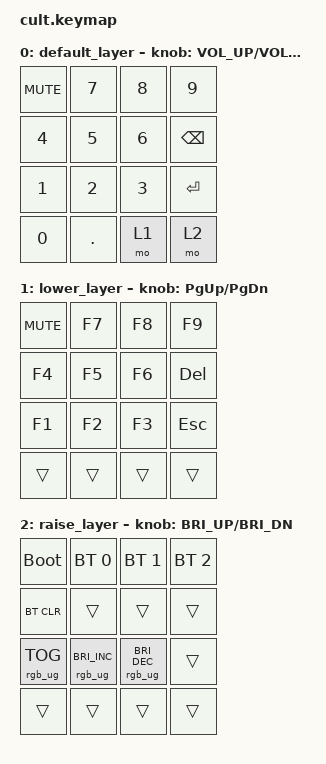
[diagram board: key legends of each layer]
/*
 * cult.keymap
 *
 * 4x4 layout — 15 switches + encoder push at R0C0
 *
 * Layer 0 : Default
 * Layer 1 : Lower  (held via MO 1 at R3C2)
 * Layer 2 : Raise  (held via MO 2 at R3C3)
 */

#include <behaviors.dtsi>
#include <dt-bindings/zmk/keys.h>
#include <dt-bindings/zmk/bt.h>
#include <dt-bindings/zmk/rgb.h>

/ {
    keymap {
        compatible = "zmk,keymap";

        /* ── Layer 0 : Default ───────────────────────────────────────
         *  [MUTE]  7    8    9
         *    4     5    6   BKSP
         *    1     2    3   ENT
         *    0     .   MO1  MO2
         */
        default_layer {
            bindings = <
                &kp C_MUTE  &kp N7   &kp N8  &kp N9
                &kp N4      &kp N5   &kp N6  &kp BSPC
                &kp N1      &kp N2   &kp N3  &kp RET
                &kp N0      &kp DOT  &mo 1   &mo 2
            >;
            sensor-bindings = <&inc_dec_kp C_VOL_UP C_VOL_DN>;
        };

        /* ── Layer 1 : Lower ─────────────────────────────────────────
         *  [MUTE]  F7   F8   F9
         *   F4     F5   F6   DEL
         *   F1     F2   F3   ESC
         *  trans  trans held trans
         */
        lower_layer {
            bindings = <
                &kp C_MUTE  &kp F7  &kp F8  &kp F9
                &kp F4      &kp F5  &kp F6  &kp DEL
                &kp F1      &kp F2  &kp F3  &kp ESC
                &trans      &trans  &trans  &trans
            >;
            sensor-bindings = <&inc_dec_kp PG_UP PG_DN>;
        };

        /* ── Layer 2 : Raise ─────────────────────────────────────────
         *  [BOOT]  BT0  BT1  BT2
         *  BTCLR  trans trans trans
         *  RGBTOG RGB+ RGB-  trans
         *  trans  trans trans held
         */
        raise_layer {
            bindings = <
                &bootloader     &bt BT_SEL 0    &bt BT_SEL 1    &bt BT_SEL 2
                &bt BT_CLR      &trans          &trans          &trans
                &rgb_ug RGB_TOG &rgb_ug RGB_BRI_INC &rgb_ug RGB_BRI_DEC &trans
                &trans          &trans          &trans          &trans
            >;
            sensor-bindings = <&inc_dec_kp C_BRI_UP C_BRI_DN>;
        };
    };
};
